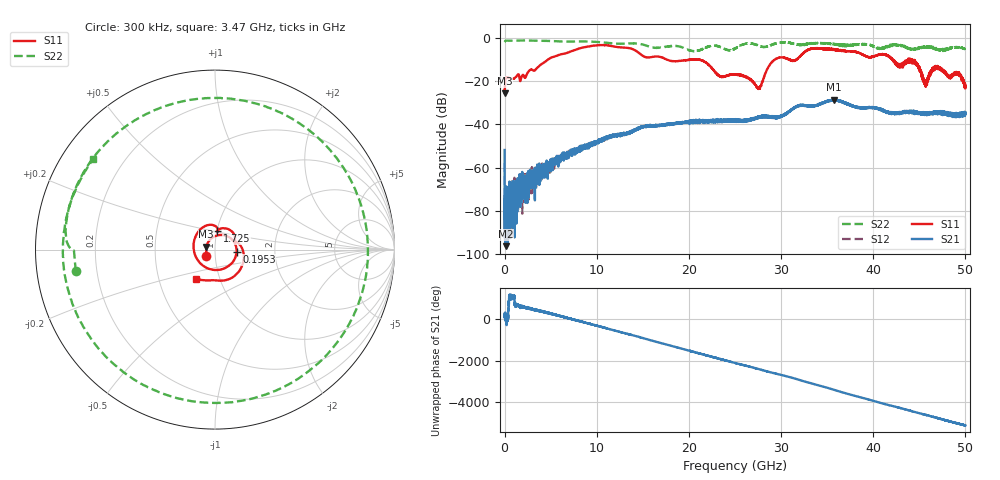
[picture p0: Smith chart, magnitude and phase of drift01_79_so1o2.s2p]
!Created with skrf (http://scikit-rf.org).
# Hz S RI R 50.0
!freq ReS11 ImS11 ReS21 ImS21 ReS12 ImS12 ReS22 ImS22
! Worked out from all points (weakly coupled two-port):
!   10001 points, 300 kHz to 50 GHz, reference 50 ohm
!   highest |S21| = -28.68 dB at 35.74 GHz (marker M1); lowest = -96.3 dB at 135.3 MHz (marker M2)
!   lowest |S11| = -25.8 dB at 5.3 MHz (marker M3), VSWR 1.11, Z = 45.3 + j1.42 ohm
!   |S11| at or under -10 dB: start of sweep to 4.766 GHz; 17.53 GHz to 29.37 GHz (11.84 GHz wide, 50.5 % of centre); 44.15 GHz to end of sweep (the widest 3 of 11)
!   |S22| runs from -6.4 to -1.3 dB; largest |S21 - S12| = 0.0036
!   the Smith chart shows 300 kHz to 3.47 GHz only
!   S11 on the Smith chart (normalised r, x): 300 kHz: 0.91, -0.07; 195.3 MHz: 1.27, -0.04; 1.725 GHz: 1.00, +0.21; 3.47 GHz: 0.77, -0.26
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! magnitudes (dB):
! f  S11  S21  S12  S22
! 300 kHz  -24.4  -51.9  -58.1  -2.1
! 5.3 MHz  -25.8  -75.9  -76.4  -2.1
! 135.3 MHz  -18.6  -96.3  -75.4  -1.5
! 195.3 MHz  -18.4  -80.3  -82.9  -1.4
! 920.3 MHz  -19.0  -87.3  -69.3  -1.5
! 1.725 GHz  -19.8  -73.1  -68.8  -1.4
! 3.47 GHz  -14.3  -64.3  -64.6  -1.5
! 8.335 GHz  -4.8  -52.1  -51.1  -1.8
! 16.67 GHz  -8.7  -40.6  -40.4  -4.8
! 21.22 GHz  -10.4  -38.5  -38.7  -5.7
! 25 GHz  -16.9  -38.1  -38.2  -5.0
! 27.6 GHz  -23.2  -36.7  -36.5  -3.8
! 29.3 GHz  -10.2  -37.0  -36.7  -2.9
! 31.49 GHz  -10.6  -32.1  -32.3  -3.0
! 33.34 GHz  -5.1  -31.7  -31.6  -2.7
! 35.74 GHz  -5.5  -28.7  -28.9  -3.2
! 41.67 GHz  -8.5  -34.8  -34.7  -4.0
! 42.81 GHz  -12.2  -35.0  -34.6  -3.4
! 44.48 GHz  -10.8  -34.8  -34.3  -5.2
! 45.63 GHz  -20.8  -35.3  -34.9  -4.3
! 46.94 GHz  -13.3  -34.4  -34.4  -5.4
! 50 GHz  -22.2  -35.3  -35.1  -5.2
